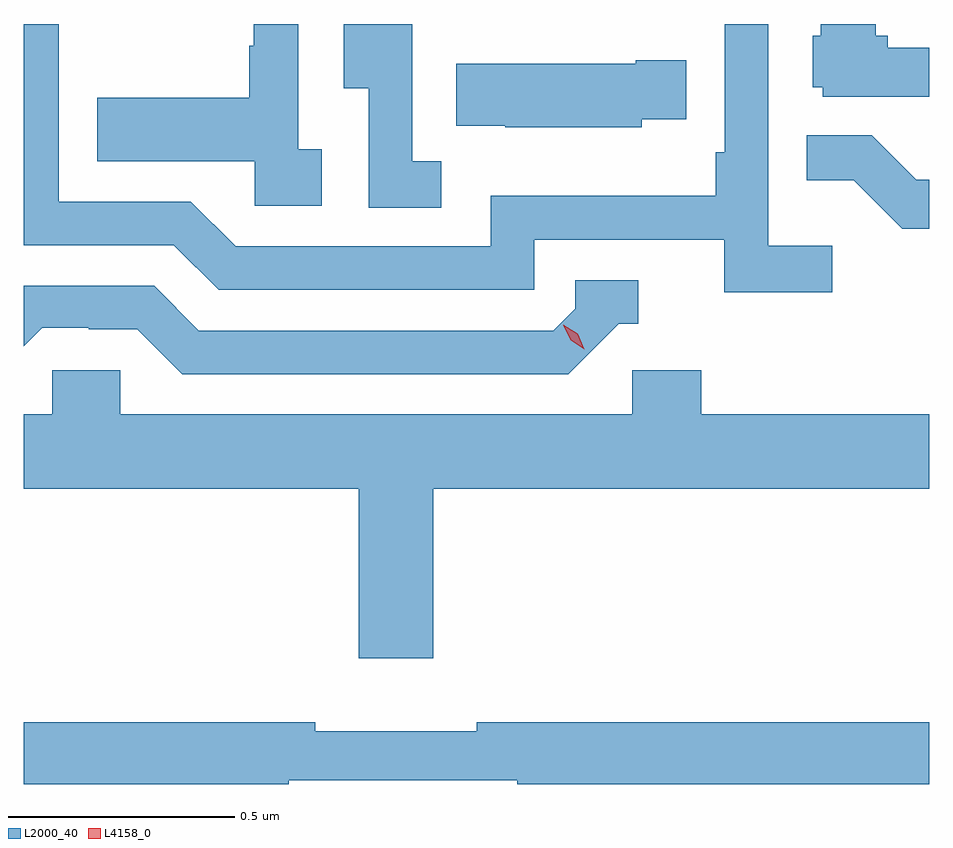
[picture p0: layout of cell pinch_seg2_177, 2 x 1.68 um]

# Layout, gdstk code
import gdstk
lib = gdstk.Library(unit=1e-6, precision=1e-09)
def P(c, l, *ps):  # polygons
    for p in ps: c.add(gdstk.Polygon(p, *l))
L2000_40 = (2000, 40)
L4158_0 = (4158, 0)

pinch_seg2_177 = lib.new_cell('pinch_seg2_177')
P(pinch_seg2_177, L2000_40, [(1113.106,626.86),(1112.964,626.86),(1112.964,627.35),(1112.868,627.35),(1112.868,627.067),(1112.848,627.067),(1112.848,626.971),(1112.352,626.971),(1112.352,626.859),(1111.788,626.859),(1111.689,626.958),(1111.398,626.958),(1111.398,627.35),(1111.32,627.35),(1111.32,626.862),(1111.652,626.862),(1111.751,626.763),(1112.448,626.763),(1112.448,626.874),(1112.867,626.874),(1112.867,626.758),(1113.106,626.758)],
  [(1112.242,627.047),(1112.178,627.047),(1112.178,627.35),(1112.027,627.35),(1112.027,627.208),(1112.082,627.208),(1112.082,626.944),(1112.242,626.944)],
  [(1111.978,627.074),(1111.926,627.074),(1111.926,627.35),(1111.828,627.35),(1111.828,627.302),(1111.818,627.302),(1111.818,627.187),(1111.483,627.187),(1111.483,627.047),(1111.83,627.047),(1111.83,626.949),(1111.978,626.949)],
  [(1113.32,627.298),(1113.228,627.298),(1113.228,627.324),(1113.202,627.324),(1113.202,627.35),(1113.08,627.35),(1113.08,627.324),(1113.062,627.324),(1113.062,627.21),(1113.084,627.21),(1113.084,627.189),(1113.32,627.189)],
  [(1112.685,627.14),(1112.783,627.14),(1112.783,627.27),(1112.672,627.27),(1112.672,627.262),(1112.275,627.262),(1112.275,627.125),(1112.383,627.125),(1112.383,627.122),(1112.685,627.122)],
  [(1113.32,627.006),(1113.291,627.006),(1113.193,627.104),(1113.049,627.104),(1113.049,627.005),(1113.153,627.005),(1113.26,626.898),(1113.32,626.898)],
  [(1112.634,626.688),(1112.677,626.688),(1112.677,626.784),(1112.538,626.784),(1112.538,626.721),(1112.49,626.673),(1111.707,626.673),(1111.608,626.772),(1111.32,626.772),(1111.32,626.638),(1111.361,626.679),(1111.464,626.679),(1111.464,626.676),(1111.571,626.676),(1111.67,626.577),(1112.523,626.577)],
  [(1112.224,626.324),(1113.32,626.324),(1113.32,626.488),(1112.816,626.488),(1112.816,626.586),(1112.664,626.586),(1112.664,626.488),(1111.533,626.488),(1111.533,626.586),(1111.383,626.586),(1111.383,626.488),(1111.32,626.488),(1111.32,626.324),(1112.06,626.324),(1112.06,625.95),(1112.224,625.95)],
  [(1111.905,625.68),(1112.41,625.68),(1112.41,625.672),(1113.32,625.672),(1113.32,625.808),(1112.32,625.808),(1112.32,625.789),(1111.964,625.789),(1111.964,625.808),(1111.32,625.808),(1111.32,625.672),(1111.905,625.672)])
P(pinch_seg2_177, L4158_0, [(1112.558,626.632),(1112.528,626.652),(1112.512,626.685),(1112.512,626.686),(1112.512,626.686),(1112.543,626.666),(1112.558,626.632),(1112.558,626.632)])

lib.write_gds('pinch_seg2_177.gds')
